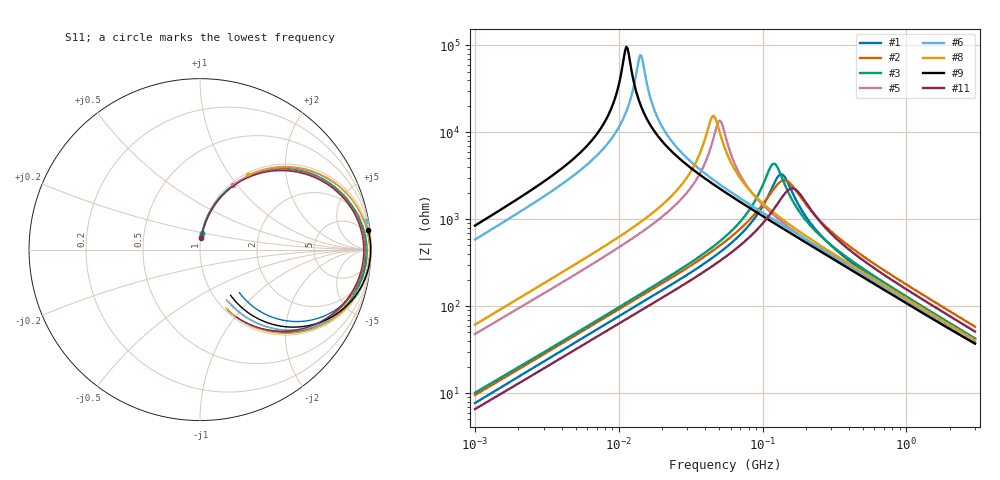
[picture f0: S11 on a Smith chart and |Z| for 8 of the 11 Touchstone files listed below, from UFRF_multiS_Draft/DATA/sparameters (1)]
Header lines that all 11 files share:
# Hz S RI R 50
!Freq.(Hz) S11(Real) S11(Imag) S21(Real) S21(Imag) S12(Real) S12(Imag) S22(Real) S22(Imag)
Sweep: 1 MHz to 3 GHz
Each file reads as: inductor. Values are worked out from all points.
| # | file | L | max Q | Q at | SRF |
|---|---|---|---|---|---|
| 1 | NFZ32BW8R4HZ11_series.s2p | 1.23 uH | 84.3 | 1.041 MHz | 134.1 MHz |
| 2 | NFZ32BW9R0HN10_series.s2p | 1.51 uH | 27.2 | 2.272 MHz | 141.4 MHz |
| 3 | NFZ32BW9R8HN11_series.s2p | 1.6 uH | 26 | 3.9 MHz | 119.5 MHz |
| 4 | NFZ32BW451HZ10_series.s2p | 69.4 uH | 47.1 | 1.522 MHz | 16.48 MHz |
| 5 | NFZ32BW520HN11_series.s2p | 7.58 uH | 28.6 | 1.041 MHz | 49.56 MHz |
| 6 | NFZ32BW621HN10_series.s2p | 92.4 uH | 50.9 | 1.246 MHz | 14.04 MHz |
| 7 | NFZ32BW650HN11_series.s2p | 11.2 uH | 30.5 | 1.041 MHz | 41.39 MHz |
| 8 | NFZ32BW700HN10_series.s2p | 9.74 uH | 35.1 | 1.434 MHz | 44.84 MHz |
| 9 | NFZ32BW881HZ10_series.s2p | 133 uH | 47.3 | 1.15 MHz | 11.27 MHz |
| 10 | NFZ32SW301HN10_series.s2p | 470 nH | 26.5 | 3.39 MHz | 269.5 MHz |
| 11 | NFZ32SW901HN10_series.s2p | 1.04 uH | 26.5 | 2.775 MHz | 160.3 MHz |
